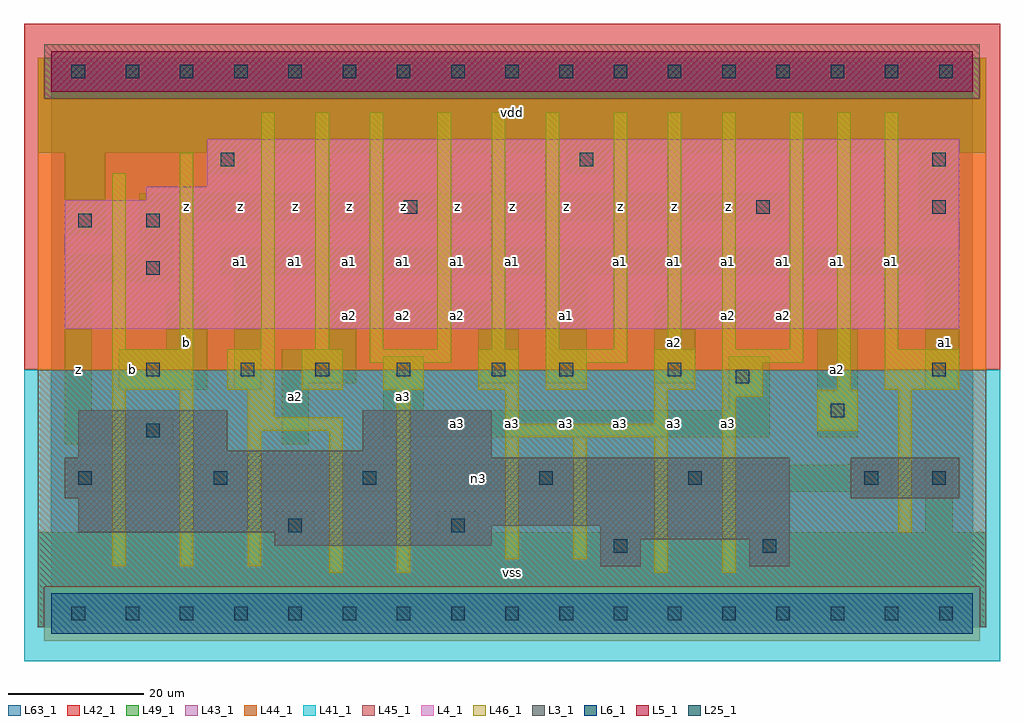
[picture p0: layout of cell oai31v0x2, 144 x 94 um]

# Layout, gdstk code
import gdstk
lib = gdstk.Library(unit=1e-6, precision=1e-09)
def R(c, l, rs):  # rectangles x0, y0, x1, y1
    for r in rs: c.add(gdstk.rectangle(r[:2], r[2:], *l))
def A(c, l, x, y, w, h, nx, ny, dx, dy):  # array of equal rectangles
    R(c, l, [(x+i*dx, y+j*dy, x+i*dx+w, y+j*dy+h) for i in range(nx) for j in range(ny)])
L3_1 = (3, 1)
L4_1 = (4, 1)
L5_1 = (5, 1)
L6_1 = (6, 1)
L25_1 = (25, 1)
L41_1 = (41, 1)
L42_1 = (42, 1)
L43_1 = (43, 1)
L44_1 = (44, 1)
L45_1 = (45, 1)
L46_1 = (46, 1)
L49_1 = (49, 1)
L63_1 = (63, 1)

oai31v0x2 = lib.new_cell('oai31v0x2')
R(oai31v0x2, L3_1, [(81,7,87,11), (103,7,109,11), (33,10,65,12), (81,11,109,13), (4,12,65,13), (4,13,109,17), (2,17,109,23), (118,17,134,23), (4,23,65,24), (4,24,26,30), (46,24,65,30)])
R(oai31v0x2, L4_1, [(2,42,134,61), (14,61,134,63), (23,63,134,70)])
R(oai31v0x2, L5_1, [(0,77,136,83)])
R(oai31v0x2, L6_1, [(0,-3,136,3), (0,-3,136,3)])
A(oai31v0x2, L25_1, 3, -1, 2, 2, 17, 2, 8, 80)
R(oai31v0x2, L25_1, [(83,9,85,11), (105,9,107,11), (35,12,37,14), (59,12,61,14), (4,19,6,21), (24,19,26,21), (46,19,48,21), (72,19,74,21), (94,19,96,21), (120,19,122,21), (130,19,132,21), (14,26,16,28), (115,29,117,31), (101,34,103,36), (14,35,16,37), (28,35,30,37), (39,35,41,37), (51,35,53,37), (65,35,67,37), (75,35,77,37), (91,35,93,37), (130,35,132,37), (14,50,16,52), (4,57,6,59), (14,57,16,59), (52,59,54,61), (104,59,106,61), (130,59,132,61), (25,66,27,68), (78,66,80,68), (130,66,132,68)])
R(oai31v0x2, L41_1, [(-4,-7,140,36)])
R(oai31v0x2, L42_1, [(-4,36,140,87)])
R(oai31v0x2, L43_1, [(0,-3,136,3), (81,7,87,11), (103,7,109,11), (33,10,65,12), (81,11,109,13), (4,12,65,13), (4,13,109,17), (2,17,109,23), (118,17,134,23), (4,23,65,24), (4,24,26,30), (46,24,65,30), (2,42,134,61), (14,61,134,63), (23,63,134,70), (0,77,136,83)])
R(oai31v0x2, L44_1, [(-1,-4,137,4), (-2,36,138,76), (-2,76,-1,82), (137,76,138,82)])
R(oai31v0x2, L45_1, [(-2,-2,-1,4), (137,-2,138,4), (-2,4,138,36), (-1,76,137,84)])
A(oai31v0x2, L46_1, 37, 33, 6, 6, 3, 1, 26, 0)
A(oai31v0x2, L46_1, 47, 37, 12, 2, 3, 1, 26, 0)
A(oai31v0x2, L46_1, 31, 39, 2, 35, 3, 1, 8, 0)
A(oai31v0x2, L46_1, 57, 39, 2, 35, 3, 1, 8, 0)
A(oai31v0x2, L46_1, 83, 39, 2, 35, 3, 1, 8, 0)
R(oai31v0x2, L46_1, [(41,6,43,27), (51,6,53,33), (89,6,91,26), (99,6,101,32), (9,7,11,33), (19,7,21,33), (29,7,31,27), (67,8,69,26), (77,8,79,26), (125,12,127,33), (67,26,91,28), (29,27,43,29), (113,27,119,33), (67,28,69,33), (89,28,91,33), (29,29,33,33), (99,32,105,37), (9,33,21,39), (26,33,33,39), (49,33,55,37), (73,33,79,37), (116,33,118,74), (123,33,134,39), (9,39,11,65), (19,39,21,68), (109,39,111,74), (123,39,125,74)])
R(oai31v0x2, L49_1, [(-2,-2,138,12), (33,12,39,15), (57,12,63,15), (129,12,133,23), (2,18,124,22), (2,25,18,29), (34,25,38,34), (49,26,106,30), (113,26,119,42), (2,29,6,49), (49,30,55,38), (100,30,106,38), (10,33,23,39), (27,33,31,50), (129,33,134,50), (34,34,45,39), (63,34,69,42), (73,34,79,50), (89,34,95,42), (17,39,23,46), (41,39,45,42), (41,42,69,46), (89,42,119,46), (2,49,18,53), (25,50,134,54), (13,53,18,58), (2,56,8,68), (13,58,108,62), (128,58,134,68), (23,65,29,68), (76,65,82,68), (-2,68,138,82)])
R(oai31v0x2, L63_1, [(0,0,136,80)])
oai31v0x2.add(gdstk.Label('b', (12,36), layer=49, texttype=1))
oai31v0x2.add(gdstk.Label('z', (4,36), layer=49, texttype=1))
oai31v0x2.add(gdstk.Label('a2', (36,32), layer=49, texttype=1))
oai31v0x2.add(gdstk.Label('b', (20,40), layer=49, texttype=1))
oai31v0x2.add(gdstk.Label('a1', (28,52), layer=49, texttype=1))
oai31v0x2.add(gdstk.Label('a1', (36,52), layer=49, texttype=1))
oai31v0x2.add(gdstk.Label('z', (20,60), layer=49, texttype=1))
oai31v0x2.add(gdstk.Label('z', (36,60), layer=49, texttype=1))
oai31v0x2.add(gdstk.Label('z', (28,60), layer=49, texttype=1))
oai31v0x2.add(gdstk.Label('a3', (60,28), layer=49, texttype=1))
oai31v0x2.add(gdstk.Label('a3', (52,32), layer=49, texttype=1))
oai31v0x2.add(gdstk.Label('a2', (52,44), layer=49, texttype=1))
oai31v0x2.add(gdstk.Label('a2', (60,44), layer=49, texttype=1))
oai31v0x2.add(gdstk.Label('a2', (44,44), layer=49, texttype=1))
oai31v0x2.add(gdstk.Label('a1', (44,52), layer=49, texttype=1))
oai31v0x2.add(gdstk.Label('a1', (52,52), layer=49, texttype=1))
oai31v0x2.add(gdstk.Label('a1', (60,52), layer=49, texttype=1))
oai31v0x2.add(gdstk.Label('z', (44,60), layer=49, texttype=1))
oai31v0x2.add(gdstk.Label('z', (60,60), layer=49, texttype=1))
oai31v0x2.add(gdstk.Label('z', (52,60), layer=49, texttype=1))
oai31v0x2.add(gdstk.Label('vss', (68,6), layer=49, texttype=1))
oai31v0x2.add(gdstk.Label('a3', (76,28), layer=49, texttype=1))
oai31v0x2.add(gdstk.Label('a3', (84,28), layer=49, texttype=1))
oai31v0x2.add(gdstk.Label('a3', (68,28), layer=49, texttype=1))
oai31v0x2.add(gdstk.Label('a1', (76,44), layer=49, texttype=1))
oai31v0x2.add(gdstk.Label('a1', (68,52), layer=49, texttype=1))
oai31v0x2.add(gdstk.Label('a1', (84,52), layer=49, texttype=1))
oai31v0x2.add(gdstk.Label('z', (68,60), layer=49, texttype=1))
oai31v0x2.add(gdstk.Label('z', (84,60), layer=49, texttype=1))
oai31v0x2.add(gdstk.Label('z', (76,60), layer=49, texttype=1))
oai31v0x2.add(gdstk.Label('vdd', (68,74), layer=49, texttype=1))
oai31v0x2.add(gdstk.Label('a3', (100,28), layer=49, texttype=1))
oai31v0x2.add(gdstk.Label('a3', (92,28), layer=49, texttype=1))
oai31v0x2.add(gdstk.Label('a2', (108,44), layer=49, texttype=1))
oai31v0x2.add(gdstk.Label('a2', (100,44), layer=49, texttype=1))
oai31v0x2.add(gdstk.Label('a2', (92,40), layer=49, texttype=1))
oai31v0x2.add(gdstk.Label('a1', (92,52), layer=49, texttype=1))
oai31v0x2.add(gdstk.Label('a1', (108,52), layer=49, texttype=1))
oai31v0x2.add(gdstk.Label('a1', (100,52), layer=49, texttype=1))
oai31v0x2.add(gdstk.Label('z', (92,60), layer=49, texttype=1))
oai31v0x2.add(gdstk.Label('z', (100,60), layer=49, texttype=1))
oai31v0x2.add(gdstk.Label('n3', (63,20), layer=49, texttype=1))
oai31v0x2.add(gdstk.Label('a2', (116,36), layer=49, texttype=1))
oai31v0x2.add(gdstk.Label('a1', (132,40), layer=49, texttype=1))
oai31v0x2.add(gdstk.Label('a1', (116,52), layer=49, texttype=1))
oai31v0x2.add(gdstk.Label('a1', (124,52), layer=49, texttype=1))

lib.write_gds('oai31v0x2.gds')
